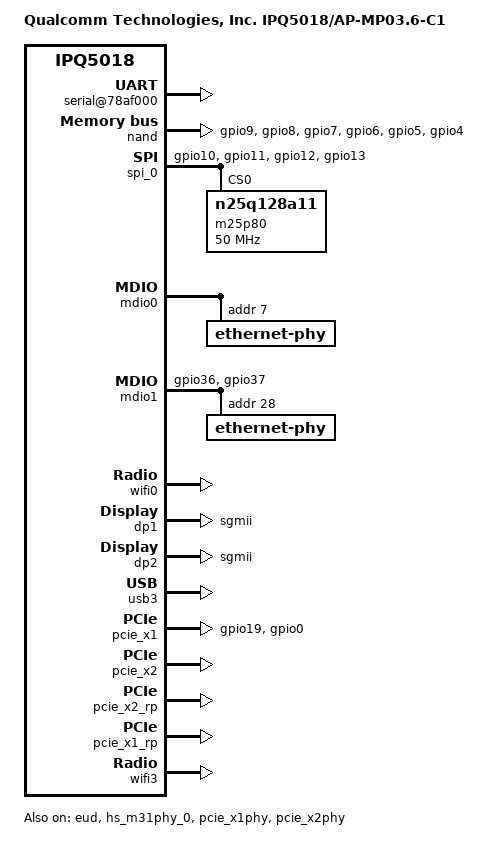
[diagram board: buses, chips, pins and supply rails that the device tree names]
/dts-v1/;
/* Copyright (c) 2018-2021, The Linux Foundation. All rights reserved.
 *
 * Copyright (c) 2021 Qualcomm Innovation Center, Inc. All rights reserved.
 *
 * Permission to use, copy, modify, and/or distribute this software for any
 * purpose with or without fee is hereby granted, provided that the above
 * copyright notice and this permission notice appear in all copies.
 *
 * THE SOFTWARE IS PROVIDED "AS IS" AND THE AUTHOR DISCLAIMS ALL WARRANTIES
 * WITH REGARD TO THIS SOFTWARE INCLUDING ALL IMPLIED WARRANTIES OF
 * MERCHANTABILITY AND FITNESS. IN NO EVENT SHALL THE AUTHOR BE LIABLE FOR
 * ANY SPECIAL, DIRECT, INDIRECT, OR CONSEQUENTIAL DAMAGES OR ANY DAMAGES
 * WHATSOEVER RESULTING FROM LOSS OF USE, DATA OR PROFITS, WHETHER IN AN
 * ACTION OF CONTRACT, NEGLIGENCE OR OTHER TORTIOUS ACTION, ARISING OUT OF
 * OR IN CONNECTION WITH THE USE OR PERFORMANCE OF THIS SOFTWARE.
 */

#include "ipq5018.dtsi"

/ {
	#address-cells = <0x2>;
	#size-cells = <0x2>;
	model = "Qualcomm Technologies, Inc. IPQ5018/AP-MP03.6-C1";
	compatible = "qcom,ipq5018-ap-mp03.6-c1", "qcom,ipq5018-mp03.6-c1", "qcom,ipq5018";
	interrupt-parent = <&intc>;

	aliases {
		sdhc1 = &sdhc_1; /* SDC1 eMMC slot */
		serial0 = &blsp1_uart1;
		serial1 = &blsp1_uart2;
	};

	chosen {
		bootargs = "console=ttyMSM0,115200,n8 rw init=/init";
		bootargs-append = " swiotlb=1 coherent_pool=2M";
		stdout-path = "serial0";
		ethernet0 = "/soc/dp1";
		ethernet1 = "/soc/dp2";
	};

	reserved-memory {
	#ifdef __IPQ_MEM_PROFILE_256_MB__
	/*            256 MB Profile
	 * +=========+==============+========================+
	 * |        |              |                         |
	 * | Region | Start Offset |          Size           |
	 * |        |              |                         |
	 * +--------+--------------+-------------------------+
	 * |        |              |                         |
	 * |        |              |                         |
	 * |  NSS   |  0x40000000  |          8MB            |
	 * |        |              |                         |
	 * |        |              |                         |
	 * +--------+--------------+-------------------------+
	 * |        |              |                         |
	 * |        |              |                         |
	 * |        |              |                         |
	 * |        |              |                         |
	 * | Linux  |  0x40800000  | Depends on total memory |
	 * |        |              |                         |
	 * |        |              |                         |
	 * |        |              |                         |
	 * +        |              |                         |
	 * +--------+--------------+-------------------------+
	 * |        |              |                         |
	 * | uboot  |  0x4A600000  |           4MB           |
	 * |        |              |                         |
	 * +--------+--------------+-------------------------+
	 * |  SBL   |  0x4AA00000  |           1MB           |
	 * +--------+--------------+-------------------------+
	 * |  smem  |  0x4AB00000  |           1MB           |
	 * +--------+--------------+-------------------------+
	 * |        |              |                         |
	 * |   TZ   |  0x4AC00000  |           4MB           |
	 * |        |              |                         |
	 * +--------+--------------+-------------------------+
	 * |        |              |                         |
	 * |        |              |                         |
	 * |        |              |                         |
	 * |   Q6   |  0x4B000000  |          23MB           |
	 * |        |              |                         |
	 * |        |              |                         |
	 * |        |              |                         |
	 * +--------+--------------+-------------------------+
	 * | M3 Dump| 0x4C700000   |          1MB            |
	 * +--------+--------------+-------------------------+
	 * | QDSS   | 0x4C800000   |          1MB            |
	 * +--------+--------------+-------------------------+
	 * |        |              |                         |
	 * |QCN9000 |  0x4C900000  |          17MB           |
	 * |        |              |                         |
	 * +--------+--------------+-------------------------+
	 * |        |              |                         |
	 * |  MHI1  |  0x4DA00000  |           5MB           |
	 * |        |              |                         |
	 * +--------+--------------+-------------------------+
	 * |                                                 |
	 * |      Rest of the memory for Linux               |
	 * |                                                 |
	 * +=================================================+
	 */
		q6_region: memory@4b000000 {
			no-map;
			reg = <0x0 0x4b000000 0x0 0x01700000>;
		};

		m3_dump@4c700000 {
			no-map;
			reg = <0x0 0x4C700000 0x0 0x100000>;
		};

		q6_etr_region:q6_etr_dump@4c800000 {
			no-map;
			reg = <0x0 0x4c800000 0x0 0x100000>;
		};

		qcn9000_pcie0: qcn9000_pcie0@4c900000 {
			no-map;
			reg = <0x0 0x4C900000 0x0 0x01100000>;
		};

	#if defined(__CNSS2__)
		mhi_region1: dma_pool1@4da00000 {
			compatible = "shared-dma-pool";
			no-map;
			reg = <0x0 0x4DA00000 0x0 0x00500000>;
		};
	#endif
	#elif __IPQ_MEM_PROFILE_512_MB__
	/*                      512 MB Profile
	 * +=========+==============+========================+
	 * |        |              |                         |
	 * | Region | Start Offset |          Size           |
	 * |        |              |                         |
	 * +--------+--------------+-------------------------+
	 * |        |              |                         |
	 * |        |              |                         |
	 * |  NSS   |  0x40000000  |          16MB           |
	 * |        |              |                         |
	 * |        |              |                         |
	 * +--------+--------------+-------------------------+
	 * |        |              |                         |
	 * |        |              |                         |
	 * |        |              |                         |
	 * |        |              |                         |
	 * | Linux  |  0x41000000  | Depends on total memory |
	 * |        |              |                         |
	 * |        |              |                         |
	 * |        |              |                         |
	 * |        |              |                         |
	 * +--------+--------------+-------------------------+
	 * |        |              |                         |
	 * | uboot  |  0x4A600000  |           4MB           |
	 * |        |              |                         |
	 * +--------+--------------+-------------------------+
	 * |  SBL   |  0x4AA00000  |           1MB           |
	 * +--------+--------------+-------------------------+
	 * |  smem  |  0x4AB00000  |           1MB           |
	 * +--------+--------------+-------------------------+
	 * |        |              |                         |
	 * |   TZ   |  0x4AC00000  |           4MB           |
	 * |        |              |                         |
	 * +--------+--------------+-------------------------+
	 * |        |              |                         |
	 * |        |              |                         |
	 * |        |              |                         |
	 * |   Q6   |  0x4B000000  |          23MB           |
	 * |        |              |                         |
	 * |        |              |                         |
	 * +--------+--------------+-------------------------+
	 * | M3 Dump|  0x4C700000  |           1MB           |
	 * +--------+--------------+-------------------------+
	 * |  QDSS  |  0x4C800000  |           1MB           |
	 * +--------+--------------+-------------------------+
	 * | caldb  |  0x4C900000  |           2MB           |
	 * +--------+--------------+-------------------------+
	 * |        |              |                         |
	 * |QCN9000 |  0x4CB00000  |          26MB           |
	 * |        |              |                         |
	 * +--------+--------------+-------------------------+
	 * |        |              |                         |
	 * |  MHI1  |  0x4E500000  |           5MB           |
	 * |        |              |                         |
	 * +--------+--------------+-------------------------+
	 * |                                                 |
	 * |      Rest of the memory for Linux               |
	 * |                                                 |
	 * +=================================================+
	 */
		q6_region: memory@4b000000 {
			no-map;
			reg = <0x0 0x4b000000 0x0 0x01700000>;
		};

		m3_dump@4c700000 {
			no-map;
			reg = <0x0 0x4c700000 0x0 0x100000>;
		};

		q6_etr_region:q6_etr_dump@4c800000 {
			no-map;
			reg = <0x0 0x4c800000 0x0 0x100000>;
		};

		q6_caldb_region:q6_caldb_region@4c900000 {
			no-map;
			reg = <0x0 0x4c900000 0x0 0x200000>;
		};

		qcn9000_pcie0: qcn9000_pcie0@4cb00000 {
			no-map;
			reg = <0x0 0x4CB00000 0x0 0x01A00000>;
		};

	#if defined(__CNSS2__)
		mhi_region1: dma_pool1@4E500000 {
			compatible = "shared-dma-pool";
			no-map;
			reg = <0x0 0x4E500000 0x0 0x00500000>;
		};
	#endif
	#else
	/*                      1G Profile
	 * +=========+==============+========================+
	 * |        |              |                         |
	 * | Region | Start Offset |          Size           |
	 * |        |              |                         |
	 * +--------+--------------+-------------------------+
	 * |        |              |                         |
	 * |        |              |                         |
	 * |  NSS   |  0x40000000  |          16MB           |
	 * |        |              |                         |
	 * |        |              |                         |
	 * +--------+--------------+-------------------------+
	 * |        |              |                         |
	 * |        |              |                         |
	 * |        |              |                         |
	 * |        |              |                         |
	 * | Linux  |  0x41000000  | Depends on total memory |
	 * |        |              |                         |
	 * |        |              |                         |
	 * |        |              |                         |
	 * |        |              |                         |
	 * +--------+--------------+-------------------------+
	 * |        |              |                         |
	 * | uboot  |  0x4A600000  |           4MB           |
	 * |        |              |                         |
	 * +--------+--------------+-------------------------+
	 * |  SBL   |  0x4AA00000  |           1MB           |
	 * +--------+--------------+-------------------------+
	 * |  smem  |  0x4AB00000  |           1MB           |
	 * +--------+--------------+-------------------------+
	 * |        |              |                         |
	 * |   TZ   |  0x4AC00000  |           4MB           |
	 * |        |              |                         |
	 * +--------+--------------+-------------------------+
	 * |        |              |                         |
	 * |        |              |                         |
	 * |        |              |                         |
	 * |   Q6   |  0x4B000000  |          23MB           |
	 * |        |              |                         |
	 * |        |              |                         |
	 * +--------+--------------+-------------------------+
	 * | M3 Dump|  0x4C700000  |           1MB           |
	 * +--------+--------------+-------------------------+
	 * |  QDSS  |  0x4C800000  |           1MB           |
	 * +--------+--------------+-------------------------+
	 * | caldb  |  0x4C900000  |           2MB           |
	 * +--------+--------------+-------------------------+
	 * |        |              |                         |
	 * |QCN9000 |  0x4CB00000  |          53MB           |
	 * |        |              |                         |
	 * +--------+--------------+-------------------------+
	 * |        |              |                         |
	 * |  MHI1  |  0x50000000  |           5MB           |
	 * |        |              |                         |
	 * +--------+--------------+-------------------------+
	 * |                                                 |
	 * |      Rest of the memory for Linux               |
	 * |                                                 |
	 * +=================================================+
	 */
		q6_region: memory@4b000000 {
			no-map;
			reg = <0x0 0x4b000000 0x0 0x01700000>;
		};

		m3_dump@4c700000 {
			no-map;
			reg = <0x0 0x4c700000 0x0 0x100000>;
		};

		q6_etr_region:q6_etr_dump@4c800000 {
			no-map;
			reg = <0x0 0x4c800000 0x0 0x100000>;
		};

		q6_caldb_region:q6_caldb_region@4c900000 {
			no-map;
			reg = <0x0 0x4c900000 0x0 0x200000>;
		};

		qcn9000_pcie0: qcn9000_pcie0@4cb00000 {
			no-map;
			reg = <0x0 0x4CB00000 0x0 0x03500000>;
		};

	#if defined(__CNSS2__)
		mhi_region1: dma_pool1@50000000 {
			compatible = "shared-dma-pool";
			no-map;
			reg = <0x0 0x50000000 0x0 0x00500000>;
		};
	#endif
	#endif
	};

	soc {
		serial@78af000 {
			status = "ok";
		};

		qpic_bam: dma@7984000{
			status = "ok";
		};

		nand: qpic-nand@79b0000 {
			pinctrl-0 = <&qspi_nand_pins>;
			pinctrl-names = "default";
			status = "ok";
		};

		spi_0: spi@78b5000 { /* BLSP1 QUP0 */
			pinctrl-0 = <&blsp0_spi_pins>;
			pinctrl-names = "default";
			cs-select = <0>;
			status = "ok";

			m25p80@0 {
				#address-cells = <1>;
				#size-cells = <1>;
				reg = <0>;
				compatible = "n25q128a11";
				linux,modalias = "m25p80", "n25q128a11";
				spi-max-frequency = <50000000>;
				use-default-sizes;
			};
		};

		mdio0: mdio@88000 {
			status = "ok";

			ethernet-phy@0 {
				reg = <7>;
			};
		};

		mdio1: mdio@90000 {
			status = "ok";
			pinctrl-0 = <&mdio1_pins>;
			pinctrl-names = "default";
			phy-reset-gpio = <&tlmm 39 0>;

			ethernet-phy@0 {
				reg = <28>;
			};
		};

		ess-instance {
			num_devices = <0x1>;
			ess-switch@0x39c00000 {
				switch_mac_mode = <0xf>; /* mac mode for uniphy instance*/
				cmnblk_clk = "internal_96MHz"; /* cmnblk clk*/
				qcom,port_phyinfo {
					port@0 {
						port_id = <1>;
						phy_address = <7>;
						mdiobus = <&mdio0>;
					};
					port@1 {
						port_id = <2>;
						phy_address = <0x1c>;
						mdiobus = <&mdio1>;
						port_mac_sel = "QGMAC_PORT";
					};
				};
				led_source@0 {
					source = <0>;
					mode = "normal";
					speed = "all";
					blink_en = "enable";
					active = "high";
				};
			};
		};

		wifi0: wifi@c000000 {
			status = "ok";
		};

		dp1 {
			device_type = "network";
			compatible = "qcom,nss-dp";
			clocks = <&gcc GCC_SNOC_GMAC0_AXI_CLK>;
			clock-names = "nss-snoc-gmac-axi-clk";
			qcom,id = <1>;
			reg = <0x39C00000 0x10000>;
			interrupts = <GIC_SPI 101 IRQ_TYPE_LEVEL_HIGH>;
			qcom,mactype = <2>;
			qcom,link-poll = <1>;
			qcom,phy-mdio-addr = <7>;
			mdio-bus = <&mdio0>;
			local-mac-address = [000000000000];
			phy-mode = "sgmii";
			qcom,rx-page-mode = <0>;
		};

		dp2 {
			device_type = "network";
			compatible = "qcom,nss-dp";
			clocks = <&gcc GCC_SNOC_GMAC1_AXI_CLK>;
			clock-names = "nss-snoc-gmac-axi-clk";
			qcom,id = <2>;
			reg = <0x39D00000 0x10000>;
			interrupts = <GIC_SPI 109 IRQ_TYPE_LEVEL_HIGH>;
			qcom,mactype = <2>;
			qcom,link-poll = <1>;
			qcom,phy-mdio-addr = <28>;
			mdio-bus = <&mdio1>;
			local-mac-address = [000000000000];
			phy-mode = "sgmii";
			qcom,rx-page-mode = <0>;
		};

		nss-macsec1 {
			compatible = "qcom,nss-macsec";
			phy_addr = <0x1c>;
			mdiobus = <&mdio1>;
		};

		pcm: pcm@0xA3C0000{
			pinctrl-0 = <&audio_pins>;
			pinctrl-names = "default";
		};
	};

	qcom,test@0 {
		status = "ok";
	};

	thermal-zones {
		status = "ok";
	};
};

&tlmm {
	pinctrl-0 = <&blsp0_uart_pins &pcie_sdx_gpio>;
	pinctrl-names = "default";

	blsp0_uart_pins: uart_pins {
		blsp0_uart_rx_tx {
			pins = "gpio20", "gpio21";
			function = "blsp0_uart0";
			bias-disable;
		};
	};

	blsp0_spi_pins: blsp0_spi_pins {
		mux {
			pins = "gpio10", "gpio11", "gpio12", "gpio13";
			function = "blsp0_spi";
			drive-strength = <2>;
			bias-disable;
		};
	};

	qspi_nand_pins: qspi_nand_pins {
		qspi_clock {
			pins = "gpio9";
			function = "qspi_clk";
			drive-strength = <8>;
			bias-disable;
		};
		qspi_cs {
			pins = "gpio8";
			function = "qspi_cs";
			drive-strength = <8>;
			bias-disable;
		};
		qspi_data_0 {
			pins = "gpio7";
			function = "qspi0";
			drive-strength = <8>;
			bias-disable;
		};
		qspi_data_1 {
			pins = "gpio6";
			function = "qspi1";
			drive-strength = <8>;
			bias-disable;
		};
		qspi_data_2 {
			pins = "gpio5";
			function = "qspi2";
			drive-strength = <8>;
			bias-disable;
		};
		qspi_data_3 {
			pins = "gpio4";
			function = "qspi3";
			drive-strength = <8>;
			bias-disable;
		};
	};

	mdio1_pins: mdio_pinmux {
		mux_0 {
			pins = "gpio36";
			function = "mdc";
			drive-strength = <8>;
			bias-pull-up;
		};

		mux_1 {
			pins = "gpio37";
			function = "mdio";
			drive-strength = <8>;
			bias-pull-up;
		};
	};

	pcie_sdx_gpio: pcie_sdx_gpio {
		ap2mdm_err_ftl {
			pins = "gpio1";
			function = "gpio";
			drive-strength = <8>;
			bias-pull-down;
		};
		sdx_pon_gpio {
			pins = "gpio26";
			function = "gpio";
			drive-strength = <8>;
			bias-pull-up;
			output-high;
		};
		ap2mdm_gp_rst_n {
			pins = "gpio28";
			function = "gpio";
			drive-strength = <8>;
			output-high;
		};
	};

	ap2mdm_status: ap2mdm_status {
		pins = "gpio25";
		function = "gpio";
		drive-strength = <8>;
		bias-pull-up;
		output-high;
	};

	mdm2ap_e911_status: mdm2ap_e911_status {
		pins = "gpio0";
		drive-strength = <8>;
		bias-pull-down;
	};

	pcie_wake_pins: pcie1_wake_gpio {
		pins = "gpio19";
		function = "pcie1_wake";
		drive-strength = <8>;
		bias-pull-up;
	};

	audio_pins: audio_pinmux {
		mux_1 {
			pins = "gpio24";
			function = "audio_rxbclk";
			drive-strength = <8>;
			bias-pull-down;
		};

		mux_2 {
			pins = "gpio25";
			function = "audio_rxfsync";
			drive-strength = <8>;
			bias-pull-down;
		};

		mux_3 {
			pins = "gpio26";
			function = "audio_rxd";
			drive-strength = <8>;
			bias-pull-down;
		};

		mux_4 {
			pins = "gpio27";
			function = "audio_txmclk";
			drive-strength = <8>;
			bias-pull-down;
		};

		mux_5 {
			pins = "gpio28";
			function = "audio_txbclk";
			drive-strength = <8>;
			bias-pull-down;
		};

		mux_6 {
			pins = "gpio29";
			function = "audio_txfsync";
			drive-strength = <8>;
			bias-pull-down;
		};

		mux_7 {
			pins = "gpio30";
			function = "audio_txd";
			drive-strength = <8>;
			bias-pull-down;
		};
	};
};

&usb3 {
	status = "ok";
	device-power-gpio = <&tlmm 24 1>;
};

&eud {
	status = "ok";
};

&pcie_x1 {
	interrupts-extended = <&tlmm 19 0>, <&tlmm 0 0>, <&intc GIC_SPI 119 IRQ_TYPE_LEVEL_HIGH>;
	interrupt-names = "wake_gpio", "mdm2ap_e911", "global_irq";

	pinctrl-0 = <&pcie_wake_pins &mdm2ap_e911_status>;
	e911-gpio =  <&tlmm 0 GPIO_ACTIVE_HIGH>;
	pinctrl-names = "default";
	status = "ok";
	perst-gpio = <&tlmm 18 GPIO_ACTIVE_LOW>;
	slot_id = <0>;
};

&pcie_x2 {
	status = "ok";
	perst-gpio = <&tlmm 15 GPIO_ACTIVE_LOW>;
};

&dwc_0 {
	/delete-property/ #phy-cells;
	/delete-property/ phys;
	/delete-property/ phy-names;
};

&hs_m31phy_0 {
	status = "ok";
};

&pcie_x1phy {
	status = "ok";
};

&pcie_x2phy {
	status = "ok";
};

&pcie_x2_rp {
	status = "ok";

	mhi_1: qcom,mhi@1 {
		reg = <0 0 0 0 0 >;
		qrtr_instance_id = <0x20>;
		qti,disable-rddm-prealloc;
		qti,rddm-seg-len = <0x1000>;
		#address-cells = <0x2>;
		#size-cells = <0x2>;
	#if defined(__CNSS2__)
		memory-region = <0>,<&mhi_region1>;
	#endif
	};
};

&pcie_x1_rp {
	status = "ok";
	aliases {
		mhi-netdev0 = &mhi_netdev_0;
		mhi_netdev2 = &mhi_netdev_2;
	};

	mhi_0: qcom,mhi@0 {
		reg = <0 0 0 0 0 >;
		ap2mdm-gpio = <&tlmm 25 0>;
		mdm2ap-gpio = <&tlmm 23 0>;

		pinctrl-0 = <&ap2mdm_status>;
		pinctrl-names = "default";
		/* controller specific configuration */
		qcom,iommu-dma = "disabled";

		/* mhi bus specific settings */
		mhi,ssr-negotiate;

		mhi_devices: mhi_devices {
			#address-cells = <1>;
			#size-cells = <0>;

			mhi_netdev_0: mhi_rmnet@0 {
				reg = <0x0>;
				mhi,chan = "IP_HW0";
				mhi,interface-name = "rmnet_mhi";
				mhi,mru = <0x4000>;
				mhi,enable-rate-control;
				mhi,chain-skb;
			};

			mhi_rmnet@1 {
				reg = <0x1>;
				mhi,chan = "IP_HW0_RSC";
				mhi,mru = <0x8000>;
				mhi,rsc-parent = <&mhi_netdev_0>;
			};

			mhi_netdev_2: mhi_rmnet@2 {
				reg = <0x2>;
				mhi,chan = "IP_SW0";
				mhi,interface-name = "rmnet_mhi_sw";
				mhi,mru = <0x4000>;
				mhi,disable-chain-skb;
			};

			mhi_qrtr {
				mhi,chan = "IPCR";
				qcom,net-id = <1>;
			};
		};
	};
};

&q6v5_wcss {
	#ifdef __IPQ_MEM_PROFILE_256_MB__
		memory-region = <&q6_region>, <&q6_etr_region>;
	#else
		memory-region = <&q6_region>, <&q6_etr_region>,
				<&q6_caldb_region>;
	#endif
};

&wifi0 {
	/* IPQ5018 */
	mem-region = <&q6_region>;

	qcom,bdf-addr = <0x4BA00000 0x4BA00000 0x4BA00000
		0x0 0x0 0x0>;
	qcom,caldb-addr = <0x4C900000 0x4C900000 0x0 0x0 0x0 0x0>;
	qcom,caldb-size = <0x200000>;
	qcom,board_id = <0x23>;
	status = "ok";
};

&wifi3 {
	/* QCN9000 5G */
	board_id = <0xa0>;
	hremote_node = <&qcn9000_pcie0>;
#ifdef __IPQ_MEM_PROFILE_256_MB__
	/* QCN9000 tgt-mem-mode=2 layout - 17MB
	 * +=========+==============+=========+
	 * |  Region | Start Offset |   Size  |
	 * +---------+--------------+---------+
	 * | HREMOTE |  0x4C900000  |   11MB  |
	 * +---------+--------------+---------+
	 * | M3 Dump |  0x4D400000  |   1MB   |
	 * +---------+--------------+---------+
	 * |   ETR   |  0x4D500000  |   1MB   |
	 * +---------+--------------+---------+
	 * | Pageable|  0x4D600000  |   4MB   |
	 * +==================================+
	 */
	base-addr = <0x4C900000>;
	m3-dump-addr = <0x4D400000>;
	etr-addr = <0x4D500000>;
	caldb-addr = <0>;
	pageable-addr = <0x4D600000>;
	caldb-size = <0>;
	hremote-size = <0xB00000>;
	tgt-mem-mode = <0x2>;
	pageable-size = <0x400000>;
#elif __IPQ_MEM_PROFILE_512_MB__
	/* QCN9000 tgt-mem-mode=1 layout - 26MB
	 * +=========+==============+=========+
	 * |  Region | Start Offset |   Size  |
	 * +---------+--------------+---------+
	 * | HREMOTE |  0x4CB00000  |   12MB  |
	 * +---------+--------------+---------+
	 * | M3 Dump |  0x4D700000  |   1MB   |
	 * +---------+--------------+---------+
	 * |   ETR   |  0x4D800000  |   1MB   |
	 * +---------+--------------+---------+
	 * |  Caldb  |  0x4D900000  |   8MB   |
	 * +---------+--------------+---------+
	 * | Pageable|  0x4E100000  |   4MB   |
	 * +==================================+
	 */
	base-addr = <0x4CB00000>;
	m3-dump-addr = <0x4D700000>;
	etr-addr = <0x4D800000>;
	caldb-addr = <0x4D900000>;
	pageable-addr = <0x4E100000>;
	caldb-size = <0x800000>;
	hremote-size = <0xC00000>;
	tgt-mem-mode = <0x1>;
	pageable-size = <0x400000>;
#else
	/* QCN9000 tgt-mem-mode=0 layout - 53MB
	 * +=========+==============+=========+
	 * |  Region | Start Offset |   Size  |
	 * +---------+--------------+---------+
	 * | HREMOTE |  0x4CB00000  |   35MB  |
	 * +---------+--------------+---------+
	 * | M3 Dump |  0x4EE00000  |   1MB   |
	 * +---------+--------------+---------+
	 * |   ETR   |  0x4EF00000  |   1MB   |
	 * +---------+--------------+---------+
	 * |  Caldb  |  0x4F000000  |   8MB   |
	 * +---------+--------------+---------+
	 * | Pageable|  0x4F800000  |   8MB   |
	 * +==================================+
	 */
	base-addr = <0x4CB00000>;
	m3-dump-addr = <0x4EE00000>;
	etr-addr = <0x4EF00000>;
	caldb-addr = <0x4F000000>;
	pageable-addr = <0x4F800000>;
	hremote-size = <0x2300000>;
	caldb-size = <0x800000>;
	tgt-mem-mode = <0x0>;
	pageable-size = <0x800000>;
#endif
	status = "ok";
};
